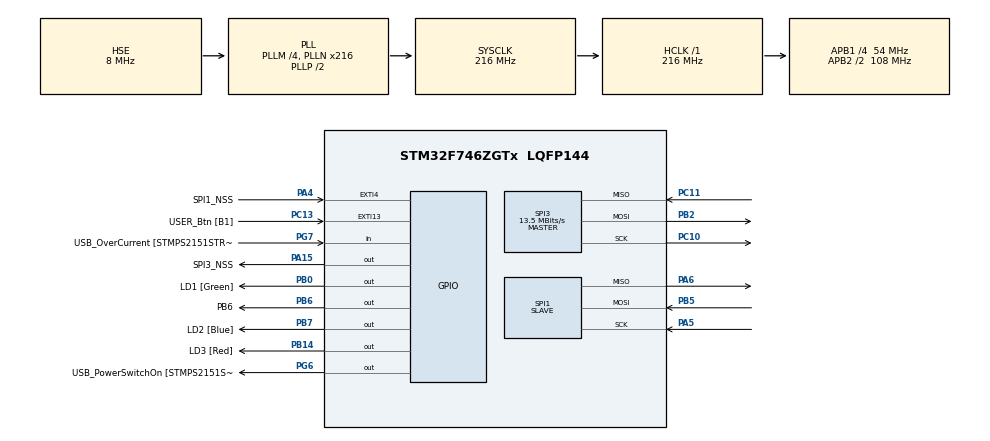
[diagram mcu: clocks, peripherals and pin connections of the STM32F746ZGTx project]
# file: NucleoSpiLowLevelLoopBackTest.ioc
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Dma.SPI1_TX.1.Priority=DMA_PRIORITY_LOW
SPI3.Direction=SPI_DIRECTION_2LINES
SPI3.VirtualType=VM_MASTER
SPI1.VirtualType=VM_SLAVE
Dma.SPI1_TX.1.FIFOMode=DMA_FIFOMODE_DISABLE
PB14.GPIO_Label=LD3 [Red]
PG6.GPIO_Label=USB_PowerSwitchOn [STMPS2151STR_EN]
PA14.GPIO_Label=TCK
CORTEX_M7.PREFETCH_ENABLE=1
Dma.SPI3_RX.2.Direction=DMA_PERIPH_TO_MEMORY
PB6.GPIO_Label=PB6
PB13.Signal=ETH_TXD1
PG13.Signal=ETH_TXD0
RCC.SYSCLKSource=RCC_SYSCLKSOURCE_PLLCLK
Dma.SPI1_RX.0.Direction=DMA_PERIPH_TO_MEMORY
SPI1.Direction=SPI_DIRECTION_2LINES
RCC.APB2TimFreq_Value=216000000
PB6.Signal=GPIO_Output
PH1/OSC_OUT.Signal=RCC_OSC_OUT
PD8.Signal=USART3_TX
Dma.SPI1_TX.1.PeriphDataAlignment=DMA_PDATAALIGN_BYTE
PB2.Signal=SPI3_MOSI
Dma.SPI1_RX.0.PeriphInc=DMA_PINC_DISABLE
PC4.GPIO_Label=RMII_RXD0 [LAN8742A-CZ-TR_RXD0]
Dma.SPI1_TX.1.Mode=DMA_NORMAL
PA5.GPIO_PuPd=GPIO_PULLUP
SPI1.DataSize=SPI_DATASIZE_8BIT
PA8.Signal=USB_OTG_FS_SOF
Mcu.Package=LQFP144
SPI3.Mode=SPI_MODE_MASTER
PA10.Signal=USB_OTG_FS_ID
PC11.Mode=Full_Duplex_Master
Dma.SPI3_RX.2.PeriphInc=DMA_PINC_DISABLE
RCC.APB2CLKDivider=RCC_HCLK_DIV2
RCC.APB1TimFreq_Value=108000000
PA4.GPIO_Label=SPI1_NSS
Dma.SPI1_TX.1.Instance=DMA2_Stream3
PA5.Mode=Full_Duplex_Slave
Dma.SPI3_TX.3.Mode=DMA_NORMAL
NVIC.EXTI4_IRQn=true\:0\:0\:false\:false\:true\:true\:true
PD9.GPIO_Label=STLK_TX [STM32F103CBT6_PA2]
PC13.Signal=GPXTI13
PA9.GPIO_Label=USB_VBUS
PA11.GPIO_Label=USB_DM
SPI1.CLKPhase=SPI_PHASE_2EDGE
RCC.APB1CLKDivider=RCC_HCLK_DIV4
PG13.GPIO_Label=RMII_TXD0 [LAN8742A-CZ-TR_TXD0]
Dma.SPI1_TX.1.MemDataAlignment=DMA_MDATAALIGN_BYTE
PA8.GPIO_Label=USB_SOF [TP1]
PB14.GPIO_Speed=GPIO_SPEED_FREQ_VERY_HIGH
PA9.Signal=USB_OTG_FS_VBUS
PA4.GPIO_ModeDefaultEXTI=GPIO_MODE_IT_RISING_FALLING
PB14.Signal=GPIO_Output
PA5.Signal=SPI1_SCK
Dma.SPI3_TX.3.FIFOMode=DMA_FIFOMODE_DISABLE
Dma.SPI3_TX.3.Direction=DMA_MEMORY_TO_PERIPH
RCC.PRESCALERUSB=RCC_USBCLKSOURCE_PLL_DIV1_5
SPI1.Mode=SPI_MODE_SLAVE
PG7.GPIO_Label=USB_OverCurrent [STMPS2151STR_FAULT]
PA1.GPIO_Label=RMII_REF_CLK [LAN8742A-CZ-TR_REFCLK0]
Dma.SPI1_RX.0.PeriphDataAlignment=DMA_PDATAALIGN_BYTE
PA13.Mode=Serial_Wire
PA4.Signal=GPXTI4
PB5.Signal=SPI1_MOSI
PA11.Signal=USB_OTG_FS_DM
ProjectManager.HeapSize=0x200
Dma.SPI1_RX.0.Priority=DMA_PRIORITY_LOW
NVIC.PriorityGroup=NVIC_PRIORITYGROUP_3
Dma.SPI3_TX.3.Instance=DMA1_Stream5
PC15/OSC32_OUT.Signal=RCC_OSC32_OUT
PB6.GPIO_Speed=GPIO_SPEED_FREQ_VERY_HIGH
PB0.Signal=GPIO_Output
PC1.Signal=ETH_MDC
Mcu.Family=STM32F7
PA6.Mode=Full_Duplex_Slave
RCC.CortexFreq_Value=216000000
PG6.Signal=GPIO_Output
Dma.SPI3_TX.3.MemDataAlignment=DMA_MDATAALIGN_BYTE
Dma.SPI3_RX.2.Instance=DMA1_Stream0
PC10.Signal=SPI3_SCK
RCC.SYSCLKSourceVirtual=RCC_SYSCLKSOURCE_PLLCLK
Dma.SPI1_TX.1.PeriphInc=DMA_PINC_DISABLE
PC14/OSC32_IN.Mode=LSE-External-Oscillator
PB0.GPIO_Label=LD1 [Green]
PC13.GPIO_Label=USER_Btn [B1]
PB13.GPIO_Label=RMII_TXD1 [LAN8742A-CZ-TR_TXD1]
PG11.Signal=ETH_TX_EN
Dma.SPI3_RX.2.PeriphDataAlignment=DMA_PDATAALIGN_BYTE
ProjectManager.StackSize=0x400
PA15.GPIO_Label=SPI3_NSS
PC11.GPIO_PuPd=GPIO_PULLUP
PA12.Signal=USB_OTG_FS_DP
SPI1.CLKPolarity=SPI_POLARITY_HIGH
Mcu.UserConstants=SPI3_is_Master,0;SPI1_is_Slave,0
SPI3.CLKPolarity=SPI_POLARITY_HIGH
PH0/OSC_IN.Mode=HSE-External-Clock-Source
RCC.HCLKFreq_Value=216000000
NVIC.DMA2_Stream0_IRQn=true\:0\:0\:false\:false\:true\:false\:true
RCC.AHBFreq_Value=216000000
SPI3.DataSize=SPI_DATASIZE_8BIT
RCC.HSE_VALUE=8000000
Dma.SPI3_TX.3.PeriphInc=DMA_PINC_DISABLE
PA4.GPIO_PuPd=GPIO_PULLUP
RCC.PLLMUL=RCC_PLL_MUL9
Dma.SPI3_TX.3.Priority=DMA_PRIORITY_LOW
PA14.Mode=Serial_Wire
PB5.Mode=Full_Duplex_Slave
PA10.GPIO_Label=USB_ID
PB7.Signal=GPIO_Output
PH1/OSC_OUT.Mode=HSE-External-Clock-Source
Dma.SPI3_RX.2.FIFOMode=DMA_FIFOMODE_DISABLE
PB7.GPIO_Label=LD2 [Blue]
PA6.Signal=SPI1_MISO
PC14/OSC32_IN.Signal=RCC_OSC32_IN
PA2.GPIO_Label=RMII_MDIO [LAN8742A-CZ-TR_MDIO]
PA15.Signal=GPIO_Output
Dma.SPI3_RX.2.Priority=DMA_PRIORITY_LOW
Dma.Request2=SPI3_RX
Dma.Request1=SPI1_TX
Dma.Request3=SPI3_TX
NVIC.DMA1_Stream0_IRQn=true\:0\:0\:false\:false\:true\:false\:true
PG11.GPIO_Label=RMII_TX_EN [LAN8742A-CZ-TR_TXEN]
PC5.Signal=ETH_RXD1
Dma.Request0=SPI1_RX
PB7.GPIO_Speed=GPIO_SPEED_FREQ_VERY_HIGH
PB3.GPIO_Label=SW0
Dma.SPI3_TX.3.MemInc=DMA_MINC_ENABLE
RCC.PLLSourceVirtual=RCC_PLLSOURCE_HSE
Dma.SPI1_TX.1.MemInc=DMA_MINC_ENABLE
CORTEX_M7.CPU_ICache=Enabled
PG7.Signal=GPIO_Input
PC11.Signal=SPI3_MISO
PC4.Signal=ETH_RXD0
PC10.Mode=Full_Duplex_Master
PD9.Signal=USART3_RX
Dma.SPI1_RX.0.Mode=DMA_NORMAL
Dma.SPI1_TX.1.Direction=DMA_MEMORY_TO_PERIPH
PA12.GPIO_Label=USB_DP
PD8.GPIO_Label=STLK_RX [STM32F103CBT6_PA3]
PB0.GPIO_Speed=GPIO_SPEED_FREQ_VERY_HIGH
PA13.Signal=SYS_JTMS-SWDIO
Dma.SPI1_RX.0.FIFOMode=DMA_FIFOMODE_DISABLE
ProjectManager.TargetToolchain=STM32CubeIDE
NVIC.DMA1_Stream5_IRQn=true\:0\:0\:false\:false\:true\:false\:true
RCC.USBFreq_Value=144000000
NVIC.DMA2_Stream3_IRQn=true\:0\:0\:false\:false\:true\:false\:true
PA1.Signal=ETH_REF_CLK
board=NUCLEO-F746ZG
SPI3.CLKPhase=SPI_PHASE_2EDGE
RCC.VCOOutputFreq_Value=432000000
PH0/OSC_IN.Signal=RCC_OSC_IN
RCC.APB2Freq_Value=108000000
SPI3.CalculateBaudRate=13.5 MBits/s
Dma.SPI1_RX.0.Instance=DMA2_Stream0
SPI3.BaudRatePrescaler=SPI_BAUDRATEPRESCALER_4
PC1.GPIO_Label=RMII_MDC [LAN8742A-CZ-TR_MDC]
Dma.SPI3_TX.3.PeriphDataAlignment=DMA_PDATAALIGN_BYTE
Dma.SPI1_RX.0.MemDataAlignment=DMA_MDATAALIGN_BYTE
Dma.SPI3_RX.2.Mode=DMA_NORMAL
Mcu.Name=STM32F746ZGTx
Dma.SPI1_RX.0.MemInc=DMA_MINC_ENABLE
PA2.Signal=ETH_MDIO
PA13.GPIO_Label=TMS
RCC.48MHZClocksFreq_Value=24000000
PB3.Signal=SYS_JTDO-SWO
RCC.SYSCLKFreq_VALUE=216000000
PA7.GPIO_Label=RMII_CRS_DV [LAN8742A-CZ-TR_CRS_DV]
PC5.GPIO_Label=RMII_RXD1 [LAN8742A-CZ-TR_RXD1]
Dma.SPI3_RX.2.MemInc=DMA_MINC_ENABLE
PB2.Mode=Full_Duplex_Master
PC15/OSC32_OUT.Mode=LSE-External-Oscillator
PA15.GPIO_Speed=GPIO_SPEED_FREQ_VERY_HIGH
PA14.Signal=SYS_JTCK-SWCLK
RCC.HSI_VALUE=16000000
PH0/OSC_IN.GPIO_Label=MCO [STM32F103CBT6_PA8]
RCC.PLLQ=3
RCC.PLLM=4
RCC.PLLN=216
CORTEX_M7.CPU_DCache=Enabled
Dma.SPI3_RX.2.MemDataAlignment=DMA_MDATAALIGN_BYTE
RCC.APB1Freq_Value=54000000
PA7.Signal=ETH_CRS_DV

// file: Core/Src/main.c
/* USER CODE BEGIN Header */
/**
  ******************************************************************************
  * @file           : main.c
  * @brief          : Main program body
  ******************************************************************************
  * @attention
  *
  * <h2><center>&copy; Copyright (c) 2020 STMicroelectronics.
  * All rights reserved.</center></h2>
  *
  * This software component is licensed by ST under BSD 3-Clause license,
  * the "License"; You may not use this file except in compliance with the
  * License. You may obtain a copy of the License at:
  *                        opensource.org/licenses/BSD-3-Clause
  *
  ******************************************************************************
Nulceo-F746ZG
SPI1 is Slave
SPI3 is Master
Loopback connections on Nucleo board:
      SPI3                 SPI1
nSS   PA15 out             PA4 in
SCK   PC10                 PA5
MOSI  PB2                  PB5
MISO  PC11                 PA6
  */
/* USER CODE END Header */
#include "main.h"

/* USER CODE BEGIN Includes */
#include "string.h" // memset
#include "assert.h"
#define JIM_SPI_M_DMA 1
#define JIM_SPI_S_DMA 1

#if JIM_SPI_S_DMA
#include "SpiSlave.h"
#endif

#if JIM_SPI_M_DMA
#include "SpiMaster.h"
#endif

/* USER CODE END Includes */

SPI_HandleTypeDef hspi1;
DMA_HandleTypeDef hdma_spi1_rx;
DMA_HandleTypeDef hdma_spi1_tx;

void SystemClock_Config(void);
static void MX_GPIO_Init(void);
static void MX_DMA_Init(void);
static void MX_SPI1_Init(void);
static void MX_SPI3_Init(void);

int main(void)
{

  /* Enable I-Cache---------------------------------------------------------*/
  SCB_EnableICache();

  /* Enable D-Cache---------------------------------------------------------*/
  SCB_EnableDCache();

  /* MCU Configuration--------------------------------------------------------*/

  /* Reset of all peripherals, Initializes the Flash interface and the Systick. */
  HAL_Init();

  /* Configure the system clock */
  SystemClock_Config();

  /* Initialize all configured peripherals */
  MX_GPIO_Init();
  MX_DMA_Init();
  MX_SPI1_Init();
  MX_SPI3_Init();
  /* USER CODE BEGIN 2 */
#if (JIM_SPI_S_DMA)
    SpiSlave::init();
  SpiSlave::reload();
  SpiSlave::start();
#endif
#if (JIM_SPI_M_DMA)
    SpiMaster::init();
#endif
  /* USER CODE END 2 */

  /* Infinite loop */
  /* USER CODE BEGIN WHILE */
  while (1)
  {
    static unsigned b_save = -1;
    static bool USER_Btn_save = 0;

    const bool user_btn = USER_Btn_get();

    const unsigned b = (HAL_GetTick() >> (user_btn ? 5 : 7)) & 3;
    if (b_save != b)
    {
      b_save = b;
      LD1_set(b == 1);
      LD2_set(b == 2);
      LD3_set(b == 3);
    }

    ///PB6_set(!PB6_get());
    static bool nss_save;
    const bool nss = SPI1_NSS_get();
    if (nss_save != nss)
    {
      nss_save = nss;
      if (nss)
      {
        SpiSlave::stop();
        SpiSlave::spi_fifo_reset();
        SpiSlave::reload();
        SpiSlave::start();
      }
      else
      {

      }
    }

    if (USER_Btn_save != user_btn)
    {
      USER_Btn_save = user_btn;
      if (user_btn)
      {

#if JIM_SPI_M_DMA
          SPI3_NSS_off(); // asserted.
          static uint8_t tx_data_pattern = 0x40;

          for (unsigned i = 0; i < SpiMaster::buffer_size; i++)
          {
            SpiMaster::tx_buf[i] = tx_data_pattern;
            tx_data_pattern++;
          }
          SpiSlave::r_spi.CR1 &= ~SPI_CR1_SSI; // Start Slave.

          SpiMaster::start();
#endif
        /*

        */
      }
      else
      {
        SPI3_NSS_on();
      }
    }

#if JIM_SPI_M_DMA
    if (!SpiMaster::pending())
    {
      SpiMaster::stop();
      SpiMaster::reload();
    }
#endif
    /* USER CODE END WHILE */

  }
}

void SystemClock_Config(void)
{
  RCC_OscInitTypeDef RCC_OscInitStruct = {0};
  RCC_ClkInitTypeDef RCC_ClkInitStruct = {0};

  /** Configure LSE Drive Capability
  */
  HAL_PWR_EnableBkUpAccess();
  /** Configure the main internal regulator output voltage
  */
  __HAL_RCC_PWR_CLK_ENABLE();
  __HAL_PWR_VOLTAGESCALING_CONFIG(PWR_REGULATOR_VOLTAGE_SCALE1);
  /** Initializes the RCC Oscillators according to the specified parameters
  * in the RCC_OscInitTypeDef structure.
  */
  RCC_OscInitStruct.OscillatorType = RCC_OSCILLATORTYPE_HSE;
  RCC_OscInitStruct.HSEState = RCC_HSE_BYPASS;
  RCC_OscInitStruct.PLL.PLLState = RCC_PLL_ON;
  RCC_OscInitStruct.PLL.PLLSource = RCC_PLLSOURCE_HSE;
  RCC_OscInitStruct.PLL.PLLM = 4;
  RCC_OscInitStruct.PLL.PLLN = 216;
  RCC_OscInitStruct.PLL.PLLP = RCC_PLLP_DIV2;
  RCC_OscInitStruct.PLL.PLLQ = 3;
  if (HAL_RCC_OscConfig(&RCC_OscInitStruct) != HAL_OK)
  {
    Error_Handler();
  }
  /** Activate the Over-Drive mode
  */
  if (HAL_PWREx_EnableOverDrive() != HAL_OK)
  {
    Error_Handler();
  }
  /** Initializes the CPU, AHB and APB buses clocks
  */
  RCC_ClkInitStruct.ClockType = RCC_CLOCKTYPE_HCLK|RCC_CLOCKTYPE_SYSCLK
                              |RCC_CLOCKTYPE_PCLK1|RCC_CLOCKTYPE_PCLK2;
  RCC_ClkInitStruct.SYSCLKSource = RCC_SYSCLKSOURCE_PLLCLK;
  RCC_ClkInitStruct.AHBCLKDivider = RCC_SYSCLK_DIV1;
  RCC_ClkInitStruct.APB1CLKDivider = RCC_HCLK_DIV4;
  RCC_ClkInitStruct.APB2CLKDivider = RCC_HCLK_DIV2;

  if (HAL_RCC_ClockConfig(&RCC_ClkInitStruct, FLASH_LATENCY_7) != HAL_OK)
  {
    Error_Handler();
  }
}

static void MX_SPI1_Init(void)
{

  /* SPI1 parameter configuration*/
  hspi1.Instance = SPI1;
  hspi1.Init.Mode = SPI_MODE_SLAVE;
  hspi1.Init.Direction = SPI_DIRECTION_2LINES;
  hspi1.Init.DataSize = SPI_DATASIZE_8BIT;
  hspi1.Init.CLKPolarity = SPI_POLARITY_HIGH;
  hspi1.Init.CLKPhase = SPI_PHASE_2EDGE;
  hspi1.Init.NSS = SPI_NSS_SOFT;
  hspi1.Init.FirstBit = SPI_FIRSTBIT_MSB;
  hspi1.Init.TIMode = SPI_TIMODE_DISABLE;
  hspi1.Init.CRCCalculation = SPI_CRCCALCULATION_DISABLE;
  hspi1.Init.CRCPolynomial = 7;
  hspi1.Init.CRCLength = SPI_CRC_LENGTH_DATASIZE;
  hspi1.Init.NSSPMode = SPI_NSS_PULSE_DISABLE;
  if (HAL_SPI_Init(&hspi1) != HAL_OK)
  {
    Error_Handler();
  }

}

static void MX_SPI3_Init(void)
{

  LL_SPI_InitTypeDef SPI_InitStruct = {0};

  LL_GPIO_InitTypeDef GPIO_InitStruct = {0};

  /* Peripheral clock enable */
  LL_APB1_GRP1_EnableClock(LL_APB1_GRP1_PERIPH_SPI3);

  LL_AHB1_GRP1_EnableClock(LL_AHB1_GRP1_PERIPH_GPIOB);
  LL_AHB1_GRP1_EnableClock(LL_AHB1_GRP1_PERIPH_GPIOC);
  /**SPI3 GPIO Configuration
  PB2   ------> SPI3_MOSI
  PC10   ------> SPI3_SCK
  PC11   ------> SPI3_MISO
  */
  GPIO_InitStruct.Pin = LL_GPIO_PIN_2;
  GPIO_InitStruct.Mode = LL_GPIO_MODE_ALTERNATE;
  GPIO_InitStruct.Speed = LL_GPIO_SPEED_FREQ_VERY_HIGH;
  GPIO_InitStruct.OutputType = LL_GPIO_OUTPUT_PUSHPULL;
  GPIO_InitStruct.Pull = LL_GPIO_PULL_NO;
  GPIO_InitStruct.Alternate = LL_GPIO_AF_7;
  LL_GPIO_Init(GPIOB, &GPIO_InitStruct);

  GPIO_InitStruct.Pin = LL_GPIO_PIN_10;
  GPIO_InitStruct.Mode = LL_GPIO_MODE_ALTERNATE;
  GPIO_InitStruct.Speed = LL_GPIO_SPEED_FREQ_VERY_HIGH;
  GPIO_InitStruct.OutputType = LL_GPIO_OUTPUT_PUSHPULL;
  GPIO_InitStruct.Pull = LL_GPIO_PULL_NO;
  GPIO_InitStruct.Alternate = LL_GPIO_AF_6;
  LL_GPIO_Init(GPIOC, &GPIO_InitStruct);

  GPIO_InitStruct.Pin = LL_GPIO_PIN_11;
  GPIO_InitStruct.Mode = LL_GPIO_MODE_ALTERNATE;
  GPIO_InitStruct.Speed = LL_GPIO_SPEED_FREQ_VERY_HIGH;
  GPIO_InitStruct.OutputType = LL_GPIO_OUTPUT_PUSHPULL;
  GPIO_InitStruct.Pull = LL_GPIO_PULL_UP;
  GPIO_InitStruct.Alternate = LL_GPIO_AF_6;
  LL_GPIO_Init(GPIOC, &GPIO_InitStruct);

  /* SPI3 DMA Init */

  /* SPI3_RX Init */
  LL_DMA_SetChannelSelection(DMA1, LL_DMA_STREAM_0, LL_DMA_CHANNEL_0);

  LL_DMA_SetDataTransferDirection(DMA1, LL_DMA_STREAM_0, LL_DMA_DIRECTION_PERIPH_TO_MEMORY);

  LL_DMA_SetStreamPriorityLevel(DMA1, LL_DMA_STREAM_0, LL_DMA_PRIORITY_LOW);

  LL_DMA_SetMode(DMA1, LL_DMA_STREAM_0, LL_DMA_MODE_NORMAL);

  LL_DMA_SetPeriphIncMode(DMA1, LL_DMA_STREAM_0, LL_DMA_PERIPH_NOINCREMENT);

  LL_DMA_SetMemoryIncMode(DMA1, LL_DMA_STREAM_0, LL_DMA_MEMORY_INCREMENT);

  LL_DMA_SetPeriphSize(DMA1, LL_DMA_STREAM_0, LL_DMA_PDATAALIGN_BYTE);

  LL_DMA_SetMemorySize(DMA1, LL_DMA_STREAM_0, LL_DMA_MDATAALIGN_BYTE);

  LL_DMA_DisableFifoMode(DMA1, LL_DMA_STREAM_0);

  /* SPI3_TX Init */
  LL_DMA_SetChannelSelection(DMA1, LL_DMA_STREAM_5, LL_DMA_CHANNEL_0);

  LL_DMA_SetDataTransferDirection(DMA1, LL_DMA_STREAM_5, LL_DMA_DIRECTION_MEMORY_TO_PERIPH);

  LL_DMA_SetStreamPriorityLevel(DMA1, LL_DMA_STREAM_5, LL_DMA_PRIORITY_LOW);

  LL_DMA_SetMode(DMA1, LL_DMA_STREAM_5, LL_DMA_MODE_NORMAL);

  LL_DMA_SetPeriphIncMode(DMA1, LL_DMA_STREAM_5, LL_DMA_PERIPH_NOINCREMENT);

  LL_DMA_SetMemoryIncMode(DMA1, LL_DMA_STREAM_5, LL_DMA_MEMORY_INCREMENT);

  LL_DMA_SetPeriphSize(DMA1, LL_DMA_STREAM_5, LL_DMA_PDATAALIGN_BYTE);

  LL_DMA_SetMemorySize(DMA1, LL_DMA_STREAM_5, LL_DMA_MDATAALIGN_BYTE);

  LL_DMA_DisableFifoMode(DMA1, LL_DMA_STREAM_5);

  /* SPI3 parameter configuration*/
  SPI_InitStruct.TransferDirection = LL_SPI_FULL_DUPLEX;
  SPI_InitStruct.Mode = LL_SPI_MODE_MASTER;
  SPI_InitStruct.DataWidth = LL_SPI_DATAWIDTH_8BIT;
  SPI_InitStruct.ClockPolarity = LL_SPI_POLARITY_HIGH;
  SPI_InitStruct.ClockPhase = LL_SPI_PHASE_2EDGE;
  SPI_InitStruct.NSS = LL_SPI_NSS_SOFT;
  SPI_InitStruct.BaudRate = LL_SPI_BAUDRATEPRESCALER_DIV4;
  SPI_InitStruct.BitOrder = LL_SPI_MSB_FIRST;
  SPI_InitStruct.CRCCalculation = LL_SPI_CRCCALCULATION_DISABLE;
  SPI_InitStruct.CRCPoly = 7;
  LL_SPI_Init(SPI3, &SPI_InitStruct);
  LL_SPI_SetStandard(SPI3, LL_SPI_PROTOCOL_MOTOROLA);
  LL_SPI_DisableNSSPulseMgt(SPI3);

}

static void MX_DMA_Init(void)
{

  /* DMA controller clock enable */
  __HAL_RCC_DMA2_CLK_ENABLE();
  __HAL_RCC_DMA1_CLK_ENABLE();

  /* DMA interrupt init */
  /* DMA1_Stream0_IRQn interrupt configuration */
  NVIC_SetPriority(DMA1_Stream0_IRQn, NVIC_EncodePriority(NVIC_GetPriorityGrouping(),0, 0));
  NVIC_EnableIRQ(DMA1_Stream0_IRQn);
  /* DMA1_Stream5_IRQn interrupt configuration */
  NVIC_SetPriority(DMA1_Stream5_IRQn, NVIC_EncodePriority(NVIC_GetPriorityGrouping(),0, 0));
  NVIC_EnableIRQ(DMA1_Stream5_IRQn);
  /* DMA2_Stream0_IRQn interrupt configuration */
  HAL_NVIC_SetPriority(DMA2_Stream0_IRQn, 0, 0);
  HAL_NVIC_EnableIRQ(DMA2_Stream0_IRQn);
  /* DMA2_Stream3_IRQn interrupt configuration */
  HAL_NVIC_SetPriority(DMA2_Stream3_IRQn, 0, 0);
  HAL_NVIC_EnableIRQ(DMA2_Stream3_IRQn);

}

static void MX_GPIO_Init(void)
{
  GPIO_InitTypeDef GPIO_InitStruct = {0};

  /* GPIO Ports Clock Enable */
  __HAL_RCC_GPIOC_CLK_ENABLE();
  __HAL_RCC_GPIOH_CLK_ENABLE();
  __HAL_RCC_GPIOA_CLK_ENABLE();
  __HAL_RCC_GPIOB_CLK_ENABLE();
  __HAL_RCC_GPIOD_CLK_ENABLE();
  __HAL_RCC_GPIOG_CLK_ENABLE();

  /*Configure GPIO pin Output Level */
  HAL_GPIO_WritePin(GPIOB, LD1_Pin|LD3_Pin|PB6_Pin|LD2_Pin, GPIO_PIN_RESET);

  /*Configure GPIO pin Output Level */
  HAL_GPIO_WritePin(USB_PowerSwitchOn_GPIO_Port, USB_PowerSwitchOn_Pin, GPIO_PIN_RESET);

  /*Configure GPIO pin Output Level */
  HAL_GPIO_WritePin(SPI3_NSS_GPIO_Port, SPI3_NSS_Pin, GPIO_PIN_RESET);

  /*Configure GPIO pin : USER_Btn_Pin */
  GPIO_InitStruct.Pin = USER_Btn_Pin;
  GPIO_InitStruct.Mode = GPIO_MODE_IT_RISING;
  GPIO_InitStruct.Pull = GPIO_NOPULL;
  HAL_GPIO_Init(USER_Btn_GPIO_Port, &GPIO_InitStruct);

  /*Configure GPIO pins : RMII_MDC_Pin RMII_RXD0_Pin RMII_RXD1_Pin */
  GPIO_InitStruct.Pin = RMII_MDC_Pin|RMII_RXD0_Pin|RMII_RXD1_Pin;
  GPIO_InitStruct.Mode = GPIO_MODE_AF_PP;
  GPIO_InitStruct.Pull = GPIO_NOPULL;
  GPIO_InitStruct.Speed = GPIO_SPEED_FREQ_VERY_HIGH;
  GPIO_InitStruct.Alternate = GPIO_AF11_ETH;
  HAL_GPIO_Init(GPIOC, &GPIO_InitStruct);

  /*Configure GPIO pins : RMII_REF_CLK_Pin RMII_MDIO_Pin RMII_CRS_DV_Pin */
  GPIO_InitStruct.Pin = RMII_REF_CLK_Pin|RMII_MDIO_Pin|RMII_CRS_DV_Pin;
  GPIO_InitStruct.Mode = GPIO_MODE_AF_PP;
  GPIO_InitStruct.Pull = GPIO_NOPULL;
  GPIO_InitStruct.Speed = GPIO_SPEED_FREQ_VERY_HIGH;
  GPIO_InitStruct.Alternate = GPIO_AF11_ETH;
  HAL_GPIO_Init(GPIOA, &GPIO_InitStruct);

  /*Configure GPIO pin : SPI1_NSS_Pin */
  GPIO_InitStruct.Pin = SPI1_NSS_Pin;
  GPIO_InitStruct.Mode = GPIO_MODE_IT_RISING_FALLING;
  GPIO_InitStruct.Pull = GPIO_PULLUP;
  HAL_GPIO_Init(SPI1_NSS_GPIO_Port, &GPIO_InitStruct);

  /*Configure GPIO pins : LD1_Pin LD3_Pin PB6_Pin LD2_Pin */
  GPIO_InitStruct.Pin = LD1_Pin|LD3_Pin|PB6_Pin|LD2_Pin;
  GPIO_InitStruct.Mode = GPIO_MODE_OUTPUT_PP;
  GPIO_InitStruct.Pull = GPIO_NOPULL;
  GPIO_InitStruct.Speed = GPIO_SPEED_FREQ_VERY_HIGH;
  HAL_GPIO_Init(GPIOB, &GPIO_InitStruct);

  /*Configure GPIO pin : RMII_TXD1_Pin */
  GPIO_InitStruct.Pin = RMII_TXD1_Pin;
  GPIO_InitStruct.Mode = GPIO_MODE_AF_PP;
  GPIO_InitStruct.Pull = GPIO_NOPULL;
  GPIO_InitStruct.Speed = GPIO_SPEED_FREQ_VERY_HIGH;
  GPIO_InitStruct.Alternate = GPIO_AF11_ETH;
  HAL_GPIO_Init(RMII_TXD1_GPIO_Port, &GPIO_InitStruct);

  /*Configure GPIO pins : STLK_RX_Pin STLK_TX_Pin */
  GPIO_InitStruct.Pin = STLK_RX_Pin|STLK_TX_Pin;
  GPIO_InitStruct.Mode = GPIO_MODE_AF_PP;
  GPIO_InitStruct.Pull = GPIO_NOPULL;
  GPIO_InitStruct.Speed = GPIO_SPEED_FREQ_VERY_HIGH;
  GPIO_InitStruct.Alternate = GPIO_AF7_USART3;
  HAL_GPIO_Init(GPIOD, &GPIO_InitStruct);

  /*Configure GPIO pin : USB_PowerSwitchOn_Pin */
  GPIO_InitStruct.Pin = USB_PowerSwitchOn_Pin;
  GPIO_InitStruct.Mode = GPIO_MODE_OUTPUT_PP;
  GPIO_InitStruct.Pull = GPIO_NOPULL;
  GPIO_InitStruct.Speed = GPIO_SPEED_FREQ_LOW;
  HAL_GPIO_Init(USB_PowerSwitchOn_GPIO_Port, &GPIO_InitStruct);

  /*Configure GPIO pin : USB_OverCurrent_Pin */
  GPIO_InitStruct.Pin = USB_OverCurrent_Pin;
  GPIO_InitStruct.Mode = GPIO_MODE_INPUT;
  GPIO_InitStruct.Pull = GPIO_NOPULL;
  HAL_GPIO_Init(USB_OverCurrent_GPIO_Port, &GPIO_InitStruct);

  /*Configure GPIO pins : USB_SOF_Pin USB_ID_Pin USB_DM_Pin USB_DP_Pin */
  GPIO_InitStruct.Pin = USB_SOF_Pin|USB_ID_Pin|USB_DM_Pin|USB_DP_Pin;
  GPIO_InitStruct.Mode = GPIO_MODE_AF_PP;
  GPIO_InitStruct.Pull = GPIO_NOPULL;
  GPIO_InitStruct.Speed = GPIO_SPEED_FREQ_VERY_HIGH;
  GPIO_InitStruct.Alternate = GPIO_AF10_OTG_FS;
  HAL_GPIO_Init(GPIOA, &GPIO_InitStruct);

  /*Configure GPIO pin : USB_VBUS_Pin */
  GPIO_InitStruct.Pin = USB_VBUS_Pin;
  GPIO_InitStruct.Mode = GPIO_MODE_INPUT;
  GPIO_InitStruct.Pull = GPIO_NOPULL;
  HAL_GPIO_Init(USB_VBUS_GPIO_Port, &GPIO_InitStruct);

  /*Configure GPIO pin : SPI3_NSS_Pin */
  GPIO_InitStruct.Pin = SPI3_NSS_Pin;
  GPIO_InitStruct.Mode = GPIO_MODE_OUTPUT_PP;
  GPIO_InitStruct.Pull = GPIO_NOPULL;
  GPIO_InitStruct.Speed = GPIO_SPEED_FREQ_VERY_HIGH;
  HAL_GPIO_Init(SPI3_NSS_GPIO_Port, &GPIO_InitStruct);

  /*Configure GPIO pins : RMII_TX_EN_Pin RMII_TXD0_Pin */
  GPIO_InitStruct.Pin = RMII_TX_EN_Pin|RMII_TXD0_Pin;
  GPIO_InitStruct.Mode = GPIO_MODE_AF_PP;
  GPIO_InitStruct.Pull = GPIO_NOPULL;
  GPIO_InitStruct.Speed = GPIO_SPEED_FREQ_VERY_HIGH;
  GPIO_InitStruct.Alternate = GPIO_AF11_ETH;
  HAL_GPIO_Init(GPIOG, &GPIO_InitStruct);

  /* EXTI interrupt init*/
  HAL_NVIC_SetPriority(EXTI4_IRQn, 0, 0);
  HAL_NVIC_EnableIRQ(EXTI4_IRQn);

}

void Error_Handler(void)
{
  /* USER CODE BEGIN Error_Handler_Debug */
  /* User can add his own implementation to report the HAL error return state */
  assert(0);
  /* USER CODE END Error_Handler_Debug */
}

/************************ (C) COPYRIGHT STMicroelectronics *****END OF FILE****/
